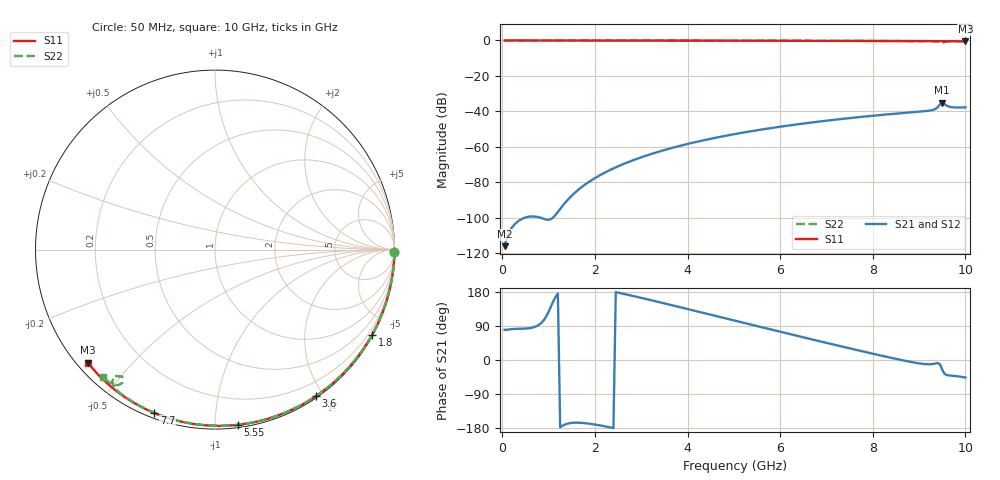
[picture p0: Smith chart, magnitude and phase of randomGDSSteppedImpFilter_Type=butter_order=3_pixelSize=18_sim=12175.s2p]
! freq	dB(S11)	phase(S11)	dB(S12)	phase(S12)
!  dB(S21)	phase(S21)	dB(S22)	phase(S22)
!S-par simulation data
#  GHz  S  DB  R 50
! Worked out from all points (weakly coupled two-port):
!   200 points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, 50 MHz to 10 GHz, reference 50 ohm
!   highest |S21| = -35.03 dB at 9.5 GHz (marker M1); lowest = -115.9 dB at 50 MHz (marker M2)
!   lowest |S11| = -0.5 dB at 10 GHz (marker M3), VSWR 37.11, Z = 1.54 - j19 ohm
!   |S11| at or under -10 dB: nowhere
!   |S22| runs from -1.1 to 0.0 dB; largest |S21 - S12| = 0
!   S11 on the Smith chart (normalised r, x): 50 MHz: open; 1.8 GHz: 0.03, -3.96; 3.6 GHz: 0.02, -1.90; 5.55 GHz: 0.02, -1.14; 7.7 GHz: 0.02, -0.70; 10 GHz: 0.03, -0.38
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0.05  -0.00 -0.8  -115.94 79.9  -115.94 79.9  -0.00 -0.8
0.9  -0.02 -14.3  -100.59 105.7  -100.59 105.7  -0.02 -13.7
1.75  -0.04 -27.6  -81.92 -166.2  -81.92 -166.2  -0.03 -26.3
1.8  -0.04 -28.4  -80.98 -166.9  -80.98 -166.9  -0.03 -27.1
1.85  -0.04 -29.1  -80.08 -167.6  -80.08 -167.6  -0.04 -27.8
2.15  -0.04 -33.7  -75.36 -173.5  -75.36 -173.5  -0.04 -32.2
2.55  -0.05 -39.8  -70.36 176.5  -70.36 176.5  -0.05 -38.0
2.95  -0.06 -45.8  -66.31 165.4  -66.31 165.4  -0.06 -43.8
3.4  -0.07 -52.5  -62.52 152.4  -62.52 152.4  -0.07 -50.2
3.6  -0.07 -55.4  -61.03 146.4  -61.03 146.4  -0.07 -53.0
4.3  -0.09 -65.5  -56.53 125.5  -56.53 125.5  -0.09 -62.6
5.05  -0.12 -75.9  -52.62 103.0  -52.62 103.0  -0.11 -72.6
5.55  -0.14 -82.7  -50.40 88.0  -50.40 88.0  -0.13 -79.1
6.7  -0.19 -97.7  -46.16 54.0  -46.16 54.0  -0.18 -93.6
7.7  -0.25 -110.4  -43.22 25.0  -43.22 25.0  -0.24 -105.7
8.35  -0.30 -118.4  -41.58 6.9  -41.58 6.9  -0.29 -113.4
9.3  -0.39 -129.9  -39.14 -10.5  -39.14 -10.5  -0.43 -125.8
9.4  -0.40 -131.1  -37.71 -7.9  -37.71 -7.9  -0.62 -127.9
9.5  -0.41 -132.3  -35.03 -25.3  -35.03 -25.3  -1.15 -126.1
9.55  -0.41 -132.9  -35.89 -36.5  -35.89 -36.5  -0.86 -124.8
9.65  -0.43 -134.1  -37.33 -40.8  -37.33 -40.8  -0.56 -126.4
10  -0.47 -138.3  -37.70 -46.2  -37.70 -46.2  -0.48 -131.4
